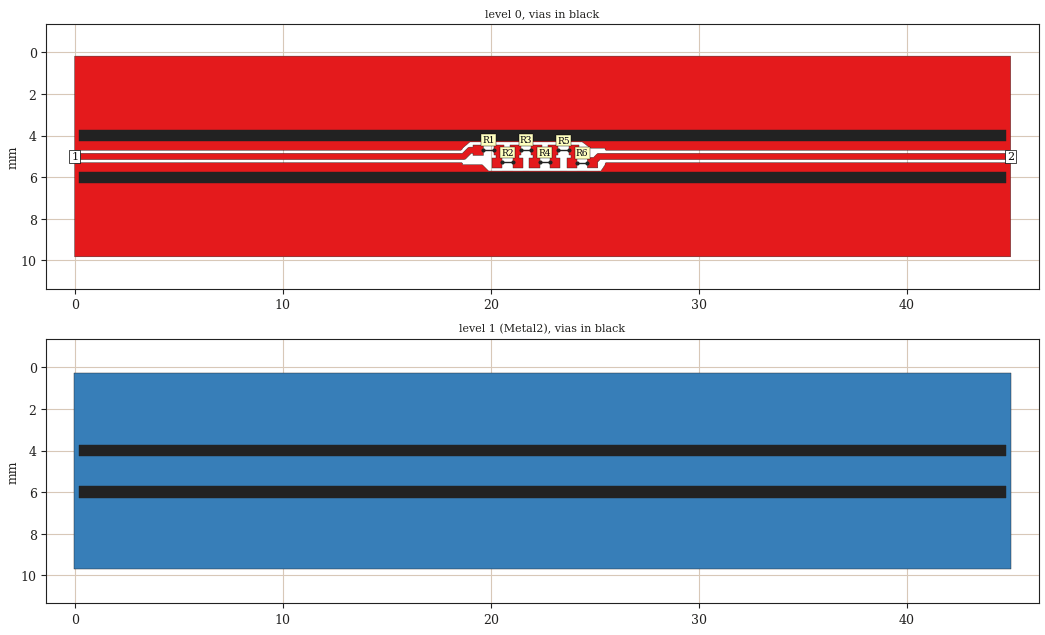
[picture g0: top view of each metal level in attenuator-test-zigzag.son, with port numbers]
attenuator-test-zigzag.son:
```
FTYP SONPROJ 17 ! Sonnet Project File
VER 17.52.2
HEADER
LIC antikernel2.2.49648 90e2ba8817c0 havequick azonenberg
DAT 08/15/2020 20:24:10
BUILT_BY_CREATED xgeom 16.56 07/03/2018 15:05:41
BUILT_BY_SAVED sonnet 17.52.2
MDATE 08/15/2020 20:23:19
HDATE 08/15/2020 20:23:19
END HEADER
DIM
ANG DEG
CAP PF
CON /OH
FREQ GHZ
IND NH
LNG MM
RES OH
END DIM
CONTROL
VARSWP
OPTIONS  -dj
SPEED 1
CACHE_ABS 1
Q_ACC N
END CONTROL
GEO
TMET "Free Space" 0 FREESPACE 376.7303136 0 0 0
BMET "Free Space" 0 FREESPACE 376.7303136 0 0 0
MET "Silver" 1 TMM 61700000 0.5 0.035 2
BRI "Alumina (96%)" 0 9.4 0.0004 0 
BRI "Alumina (99.5%)" 0 9.9 0.0001 0 
BRI "Aluminum Nitride" 0 8.6 0.0003 0 
BRI "Arlon 25FR" 0 3.58 0.0035 0 
BRI "Arlon 25N" 0 3.38 0.0025 0 
BRI "Arlon AD5" 0 5.1 0.003 0 
BRI "Arlon AD10" 0 10.2 0.005 0 
BRI "Arlon AD250" 0 2.5 0.0018 0 
BRI "Arlon AD255A" 0 2.55 0.0015 0 
BRI "Arlon AD260A" 0 2.6 0.0018 0 
BRI "Arlon AD270" 0 2.7 0.0023 0 
BRI "Arlon AD300A" 0 3 0.002 0 
BRI "Arlon AD320A" 0 3.2 0.0032 0 
BRI "Arlon AD350A" 0 3.5 0.003 0 
BRI "Arlon AD410" 0 4.1 0.003 0 
BRI "Arlon AD430" 0 4.3 0.003 0 
BRI "Arlon AD450" 0 4.5 0.0035 0 
BRI "Arlon AD600" 0 6.15 0.003 0 
BRI "Arlon AD1000" 0 10.2 0.0023 0 
BRI "Arlon AR1000" 0 9.8 0.003 0 
BRI "Arlon CLTE" 0 2.96 0.0023 0 
BRI "Arlon CLTE-AT" 0 3 0.0013 0 
BRI "Arlon CLTE-P" 0 2.94 0.0025 0 
BRI "Arlon CLTE-XT" 0 2.94 0.0012 0 
BRI "Arlon Cu 217LX" 0 2.17 0.0009 0 
BRI "Arlon Cu 233LX" 0 2.33 0.0013 0 
BRI "Arlon Cu 250GT" 0 2.5 0.001 0 
BRI "Arlon Cu 250GX" 0 2.5 0.0018 0 
BRI "Arlon Cu 6250" 0 2.32 0.0013 0 
BRI "Arlon Cu 6700" 0 2.35 0.0025 0 
BRI "Arlon Di 522" 0 2.5 0.001 0 
BRI "Arlon Di 527" 0 2.5 0.0018 0 
BRI "Arlon Di 870" 0 2.33 0.0013 0 
BRI "Arlon Di 880" 0 2.17 0.0009 0 
BRI "Arlon Iso 917" 0 2.17 0.0013 0 
BRI "Arlon Iso 933" 0 2.33 0.0016 0 
BRI "Arlon Multi HF" 0 3.7 0.004 0 
BRI "Arlon TC350" 0 3.5 0.002 0 
BRI "Arlon TC600" 0 6.15 0.002 0 
BRI "Beryllia (99.5%)" 0 6.5 0.0004 0 
BRI "CEM-1" 0 4.5 0.02 0 
BRI "CEM-3" 0 4.5 0.02 0 
BRI "Dupont 9K7" 0 7.1 0.0012 0 
BRI "Dupont 943" 0 7.4 0.002 0 
BRI "Dupont 951" 0 7.8 0.006 0 
BRI "Dupont FEP" 0 2 0.0005 0 
BRI "Dupont Vacrel" 0 3.8 0.011 0 
BRI "ESL 41010" 0 7.5 0.005 0 
BRI "ESL 41020" 0 7.25 0.005 0 
BRI "ESL 41050" 0 13.5 0.002 0 
BRI "ESL 41060" 0 16.5 0.002 0 
BRI "ESL 41110" 0 4.5 0.004 0 
BRI "Ferro A6M" 0 5.9 0.002 0 
BRI "Ferro A6S" 0 5.9 0.002 0 
BRI "Ferro L8" 0 7.3 0.0018 0 
BRI "FR-4" 0 4.4 0.02 0 
BRI "G-10" 0 4.8 0.025 0 
BRI "Gallium Arsenide" 0 12.9 0.006 0 
BRI "Gallium Nitride" 0 9.7 0 0 
BRI "Glass (Pyrex)" 0 4.82 0.0054 0 
BRI "Heraeus HL2000" 0 7.3 0.0026 0 
BRI "Isola 370HR" 0 4.04 0.021 0 
BRI "Isola FR408" 0 3.77 0.0116 0 
BRI "Isola FR408HR" 0 3.68 0.0092 0 
BRI "Isola Getek" 0 3.6 0.01 0 
BRI "Isola GI-180" 0 3.7 0.013 0 
BRI "Isola IS415" 0 3.82 0.0125 0 
BRI "Isola IS620i" 0 3.58 0.006 0 
BRI "Isola IS680-280" 0 2.8 0.0025 0 
BRI "Isola IS680-300" 0 3 0.003 0 
BRI "Isola IS680-320" 0 3.2 0.003 0 
BRI "Isola IS680-333" 0 3.33 0.003 0 
BRI "Isola IS680-338" 0 3.38 0.0032 0 
BRI "Isola IS680-345" 0 3.45 0.0036 0 
BRI "Kerafol CT800" 0 5.3 0.008 0 
BRI "Nelco MW9350" 0 3.7 0.004 0 
BRI "Nelco N4000-12" 0 3.7 0.008 0 
BRI "Nelco N4000-13" 0 3.7 0.009 0 
BRI "Nelco N4000-13SI" 0 3.2 0.007 0 
BRI "Nelco N4000-13EP" 0 3.7 0.008 0 
BRI "Nelco N4350-13RF" 0 3.5 0.0065 0 
BRI "Nelco N4380-13RF" 0 3.8 0.007 0 
BRI "Nelco N9300-13RF" 0 3 0.004 0 
BRI "Nelco N9320-13RF" 0 3.2 0.0045 0 
BRI "Nelco N9338-13RF" 0 3.38 0.0046 0 
BRI "Nelco N9350-13RF" 0 3.48 0.0055 0 
BRI "Nelco NH9294" 0 2.94 0.0022 0 
BRI "Nelco NH9300" 0 3 0.0023 0 
BRI "Nelco NH9320" 0 3.2 0.0024 0 
BRI "Nelco NH9338" 0 3.38 0.0025 0 
BRI "Nelco NH9348" 0 3.48 0.003 0 
BRI "Nelco NH9350" 0 3.5 0.003 0 
BRI "Nelco NH9410" 0 4.1 0.003 0 
BRI "Nelco NH9450" 0 4.5 0.003 0 
BRI "Nelco NX9240" 0 2.4 0.0016 0 
BRI "Nelco NX9245" 0 2.45 0.0016 0 
BRI "Nelco NX9250" 0 2.5 0.0017 0 
BRI "Nelco NX9255" 0 2.55 0.0018 0 
BRI "Nelco NX9260" 0 2.6 0.0019 0 
BRI "Nelco NY9208" 0 2.08 0.0006 0 
BRI "Nelco NY9217" 0 2.17 0.0008 0 
BRI "Nelco NY9220" 0 2.2 0.0009 0 
BRI "Nelco NY9233" 0 2.33 0.0011 0 
BRI "PET" 0 3.37 0.0208 0 
BRI "Polyimide" 0 3.5 0.003 0 
BRI "Quartz (Fused)" 0 3.78 0.0001 0 
BRI "Rogers 3001" 0 2.28 0.003 0 
BRI "Rogers RO2808" 0 7.6 0.0015 0 
BRI "Rogers RO3003" 0 3 0.0013 0 
BRI "Rogers RO3006" 0 6.5 0.002 0 
BRI "Rogers RO3010" 0 11.2 0.0022 0 
BRI "Rogers RO3035" 0 3.6 0.0018 0 
BRI "Rogers RO3203" 0 3.02 0.0016 0 
BRI "Rogers RO3206" 0 6.6 0.0027 0 
BRI "Rogers RO3210" 0 10.8 0.0027 0 
BRI "Rogers RO3730" 0 3 0.0016 0 
BRI "Rogers RO4003C" 0 3.55 0.0029 0 
BRI "Rogers RO4533" 0 3.45 0.0029 0 
BRI "Rogers RO4534" 0 3.4 0.003 0 
BRI "Rogers RO4350B" 0 3.66 0.0037 0 
BRI "Rogers RO4350BTX" 0 3.66 0.0034 0 
BRI "Rogers RO4360" 0 6.15 0.0038 0 
BRI "Rogers RO4450B-3.6" 0 3.3 0.0043 0 
BRI "Rogers RO4450B-4" 0 3.54 0.004 0 
BRI "Rogers RO4450F" 0 3.52 0.0041 0 
BRI "Rogers RO4730" 0 3 0.0033 0 
BRI "Rogers RT5870" 0 2.33 0.0012 0 
BRI "Rogers RT5880" 0 2.2 0.0009 0 
BRI "Rogers RT5880LZ" 0 1.96 0.0019 0 
BRI "Rogers RT6002" 0 2.94 0.0012 0 
BRI "Rogers RT6006" 0 6.15 0.0027 0 
BRI "Rogers RT6010LM" 0 10.9 0.0023 0 
BRI "Rogers RT6035HTC" 0 3.6 0.0013 0 
BRI "Rogers RT6202" 0 2.94 0.0015 0 
BRI "Rogers RT6202PR" 0 2.95 0.0015 0 
BRI "Rogers Syron7000" 0 3.4 0.0045 0 
BRI "Rogers Syron7100-2" 0 3.61 0.006 0 
BRI "Rogers Syron7100-4" 0 3.39 0.005 0 
BRI "Rogers Theta" 0 4.01 0.0118 0 
BRI "Rogers TMM 3" 0 3.39 0.002 0 
BRI "Rogers TMM 4" 0 4.5 0.002 0 
BRI "Rogers TMM 6" 0 6 0.0023 0 
BRI "Rogers TMM 10" 0 9.56 0.0022 0 
BRI "Rogers TMM 10i" 0 9.96 0.002 0 
BRI "Rogers UL2000" 0 2.5 0.0019 0 
BRI "Rogers UL3850" 0 3.05 0.0025 0 
BRI "Rogers UL3908" 0 2.9 0.0025 0 
BRI "Rogers XT8000" 0 3.34 0.0035 0 
BRI "Rogers XT8100-2" 0 3.54 0.0049 0 
BRI "Rogers XT8100-4" 0 3.32 0.0038 0 
BRI "Silicon (intrinsic)" 0 11.9 0.004 0.00044 
BRI "Silicon Dioxide" 0 3.9 0 0 
BRI "Silicon Nitride" 0 7.5 0 0 
BRI "Taconic CER-10" 0 10 0.0035 0 
BRI "Taconic FastFilm" 0 2.7 0.0012 0 
BRI "Taconic Fastrise-DS" 0 2.96 0.0018 0 
BRI "Taconic Fastrise27" 0 2.7 0.0014 0 
BRI "Taconic Fastrise77" 0 7.7 0.0034 0 
BRI "Taconic FEP" 0 2 0.0003 0 
BRI "Taconic RF-30" 0 3 0.0014 0 
BRI "Taconic RF-35" 0 3.5 0.0018 0 
BRI "Taconic RF-35A2" 0 3.5 0.0011 0 
BRI "Taconic RF-35P" 0 3.5 0.0025 0 
BRI "Taconic RF-41" 0 4.1 0.0038 0 
BRI "Taconic RF-43" 0 4.3 0.0033 0 
BRI "Taconic RF-45" 0 4.5 0.0037 0 
BRI "Taconic RF-60A" 0 6.15 0.0038 0 
BRI "Taconic RF-301" 0 2.97 0.0012 0 
BRI "Taconic TacBond HT" 0 2.35 0.0025 0 
BRI "Taconic TLA-6" 0 2.62 0.0012 0 
BRI "Taconic TLC-27" 0 2.75 0.003 0 
BRI "Taconic TLC-30" 0 3 0.003 0 
BRI "Taconic TLC-32" 0 3.2 0.003 0 
BRI "Taconic TLE-95" 0 2.95 0.0028 0 
BRI "Taconic TLF-34" 0 3.4 0.002 0 
BRI "Taconic TLF-35" 0 3.5 0.002 0 
BRI "Taconic TLP-3" 0 2.33 0.0009 0 
BRI "Taconic TLP-5" 0 2.2 0.0009 0 
BRI "Taconic TLP-5A" 0 2.17 0.0009 0 
BRI "Taconic TLT-0" 0 2.45 0.0006 0 
BRI "Taconic TLT-9" 0 2.5 0.0006 0 
BRI "Taconic TLT-8" 0 2.55 0.0006 0 
BRI "Taconic TLT-7" 0 2.6 0.0006 0 
BRI "Taconic TLT-6" 0 2.65 0.0006 0 
BRI "Taconic TLX-0" 0 2.45 0.0019 0 
BRI "Taconic TLX-9" 0 2.5 0.0019 0 
BRI "Taconic TLX-8" 0 2.55 0.0019 0 
BRI "Taconic TLX-7" 0 2.6 0.0019 0 
BRI "Taconic TLX-6" 0 2.65 0.0019 0 
BRI "Taconic TLY-3" 0 2.33 0.0009 0 
BRI "Taconic TLY-3F" 0 2.33 0.0009 0 
BRI "Taconic TLY-5" 0 2.2 0.0009 0 
BRI "Taconic TLY-5-L" 0 2.2 0.0009 0 
BRI "Taconic TLY-5A" 0 2.17 0.0009 0 
BRI "Taconic TLY-5A-L" 0 2.17 0.0009 0 
BRI "Taconic TPG-30" 0 3 0.0038 0 
BRI "Taconic TPG-32" 0 3.2 0.005 0 
BRI "Taconic TPG-35" 0 3.5 0.005 0 
BRI "Taconic TRF-41" 0 4.1 0.0035 0 
BRI "Taconic TRF-43" 0 4.3 0.0035 0 
BRI "Taconic TRF-45" 0 4.5 0.0035 0 
BRI "Taconic TSM-DS" 0 2.85 0.001 0 
BRI "Taconic TSM-DS3" 0 3 0.0011 0 
BRI "Taconic TSM-26" 0 2.6 0.0014 0 
BRI "Taconic TSM-29" 0 2.94 0.0013 0 
BRI "Taconic TSM-30" 0 3 0.0013 0 
BRI "Teflon (PTFE)" 0 2.08 0.0004 0 
BOX 2 45 10 3600 800 20 0
      1 1 1 0 0 0 0 "Air"
      0.16 3.68 1 0.0092 0 0 0 "Isola FR408HR"
      1 1 1 0 0 0 0 "Substrate"
TECHLAY METAL Metal1 <UNSPECIFIED> -2 0 
0 0 0 N 0 1 1 100 100 0 0 0 Y
END
END
TECHLAY VIA Via1 <UNSPECIFIED> -4 0 
VIA POLYGON
1 0 -1 N 0 1 1 100 100 0 0 0 Y
TOLEVEL 0 RING NOCOVERS
END
END
TECHLAY METAL Metal2 <UNSPECIFIED> -3 0 
1 0 -1 N 0 1 1 100 100 0 0 0 Y
END
END
LORGN 0 10 U 
POR1 BOX
POLY 805 1
23
1 50 0 0 0 0 5 
POR1 BOX
POLY 810 1
2
2 50 0 0 0 45 5 
SMD 0 "R1"
ID 473
GNDREF AUTO
SBOX 19.775 20.025 4.55 4.8
PBSHW N
LPOS 19.9 4.55
TYPE SPARAM 1
SMDP 0 19.65 4.675 L 3 1 
EXSMDP
GNDREF AUTO
TERMW FEED
END EXSMDP
SMDP 0 20.15 4.675 R 4 2 
EXSMDP
GNDREF AUTO
TERMW FEED
END EXSMDP
END
SMD 0 "R2"
ID 476
GNDREF AUTO
SBOX 20.675 20.925 5.15 5.4
PBSHW N
LPOS 20.8 5.15
TYPE SPARAM 2
SMDP 0 20.55 5.275 L 5 1 
EXSMDP
GNDREF AUTO
TERMW FEED
END EXSMDP
SMDP 0 21.05 5.275 R 6 2 
EXSMDP
GNDREF AUTO
TERMW FEED
END EXSMDP
END
SMD 0 "R3"
ID 479
GNDREF AUTO
SBOX 21.575 21.825 4.55 4.8
PBSHW N
LPOS 21.7 4.55
TYPE SPARAM 2
SMDP 0 21.45 4.675 L 7 1 
EXSMDP
GNDREF AUTO
TERMW FEED
END EXSMDP
SMDP 0 21.95 4.675 R 8 2 
EXSMDP
GNDREF AUTO
TERMW FEED
END EXSMDP
END
SMD 0 "R4"
ID 482
GNDREF AUTO
SBOX 22.475 22.725 5.15 5.4
PBSHW N
LPOS 22.6 5.15
TYPE SPARAM 2
SMDP 0 22.35 5.275 L 9 1 
EXSMDP
GNDREF AUTO
TERMW FEED
END EXSMDP
SMDP 0 22.85 5.275 R 10 2 
EXSMDP
GNDREF AUTO
TERMW FEED
END EXSMDP
END
SMD 0 "R5"
ID 485
GNDREF AUTO
SBOX 23.375 23.625 4.575 4.825
PBSHW N
LPOS 23.5 4.575
TYPE SPARAM 2
SMDP 0 23.25 4.7 L 11 1 
EXSMDP
GNDREF AUTO
TERMW FEED
END EXSMDP
SMDP 0 23.75 4.7 R 12 2 
EXSMDP
GNDREF AUTO
TERMW FEED
END EXSMDP
END
SMD 0 "R6"
ID 488
GNDREF AUTO
SBOX 24.275 24.525 5.175 5.425
PBSHW N
LPOS 24.4 5.175
TYPE SPARAM 3
SMDP 0 24.15 5.3 L 13 1 
EXSMDP
GNDREF AUTO
TERMW FEED
END EXSMDP
SMDP 0 24.65 5.3 R 14 2 
EXSMDP
GNDREF AUTO
TERMW FEED
END EXSMDP
END
NUM 12
0 12 0 N 796 1 1 100 100 0 0 0 Y
USER_DAT FromImport
22.35 5.05
22.35 4.95
22.45 4.95
22.45 4.45
21.95 4.45
21.95 4.95
22.05 4.95
22.05 5.05
21.85 5.05
21.85 5.55
22.35 5.55
22.35 5.05
END
0 12 0 N 798 1 1 100 100 0 0 0 Y
USER_DAT FromImport
24.15 5.05
24.15 4.95
24.25 4.95
24.25 4.45
23.75 4.45
23.75 4.95
23.85 4.95
23.85 5.05
23.65 5.05
23.65 5.55
24.15 5.55
24.15 5.05
END
0 12 0 N 799 1 1 100 100 0 0 0 Y
USER_DAT FromImport
20.55 5.05
20.55 4.95
20.65 4.95
20.65 4.45
20.15 4.45
20.15 4.95
20.25 4.95
20.25 5.05
20.05 5.05
20.05 5.55
20.55 5.55
20.55 5.05
END
0 13 0 N 801 1 1 100 100 0 0 0 Y
USER_DAT FromImport
21.55 5.05
21.35 5.05
21.35 4.95
21.45 4.95
21.45 4.45
20.95 4.45
20.95 4.95
21.05 4.95
21.05 5.05
21.05 5.2074
21.05 5.55
21.55 5.55
21.55 5.05
END
0 14 0 N 802 1 1 100 100 0 0 0 Y
USER_DAT FromImport
23.35 5.05
23.15 5.05
23.15 4.95
23.25 4.95
23.25 4.45
22.75 4.45
22.75 4.95
22.85 4.95
22.85 5.05
22.85 5.1926
22.85 5.2074
22.85 5.55
23.35 5.55
23.35 5.05
END
0 27 0 N 805 1 1 100 100 0 0 0 Y
USER_DAT FromImport
18.722 5.1486
18.736 5.1457
18.751 5.1414
18.764 5.1358
18.777 5.1288
18.789 5.1206
18.801 5.1113
19.06196327 4.85
19.15 4.85
19.15 4.95
19.65 4.95
19.65 4.45
19.15 4.45
19.15 4.55
18.993 4.55
18.978 4.5514
18.964 4.5543
18.949 4.5586
18.936 4.5642
18.923 4.5712
18.911 4.5794
18.899 4.5887
18.63803673 4.85
0 4.85
0 5.15
18.707 5.15
18.722 5.1486
END
0 125 0 N 808 1 1 100 100 0 0 0 Y
USER_DAT FromImport
39.703 4.699
45 4.699
45 0.175
0 0.175
0 4.699
5.297 4.699
5.301 4.6994
5.301 4.6994
5.307 4.7
18.553 4.7
18.559 4.6994
18.565 4.6982
18.571 4.6964
18.577 4.6941
18.582 4.6912
18.587 4.6878
18.592 4.6839
18.634 4.6418
18.638 4.6371
18.63933333 4.634833333
18.64 4.634
18.643 4.6287
18.646 4.6232
18.648 4.6173
18.649 4.6114
18.65046963 4.600230841
18.65271476 4.597951165
18.99442014 4.304509259
18.995 4.3042
18.99945701 4.300545249
18.99979487 4.300361538
19 4.3003
19.003 4.3
19.143 4.3
19.149 4.2994
19.149 4.2994
19.153 4.299
19.647 4.299
19.651 4.2994
19.651 4.2994
19.651 4.2994
19.657 4.3
20.143 4.3
20.149 4.2994
20.149 4.2994
20.153 4.299
20.647 4.299
20.651 4.2994
20.651 4.2994
20.657 4.3
20.943 4.3
20.949 4.2994
20.949 4.2994
20.953 4.299
21.447 4.299
21.451 4.2994
21.451 4.2994
21.457 4.3
21.943 4.3
21.949 4.2994
21.949 4.2994
21.953 4.299
22.447 4.299
22.451 4.2994
22.451 4.2994
22.457 4.3
22.743 4.3
22.749 4.2994
22.749 4.2994
22.753 4.299
23.247 4.299
23.251 4.2994
23.251 4.2994
23.251 4.2994
23.257 4.3
23.743 4.3
23.749 4.2994
23.749 4.2994
23.753 4.299
24.247 4.299
24.251 4.2994
24.251 4.2994
24.251 4.2994
24.257 4.3
24.39633333 4.3
24.40042461 4.300502111
24.40351091 4.302334603
24.78398267 4.587786482
24.784 4.5878
24.78400734 4.587804989
24.786 4.5893
24.791 4.5925
24.79207692 4.592984615
24.794 4.5941
24.79836364 4.595772727
24.802 4.5973
24.808 4.5988
24.814 4.5997
24.817 4.5999
24.818 4.6
24.8185 4.6
24.82 4.6001
24.82233333 4.6
25.497 4.6
25.49954386 4.600254386
25.5 4.60186
25.5 4.6344
25.5 4.6406
25.501 4.6467
25.502 4.6527
25.504 4.6586
25.506 4.6643
25.509 4.6697
25.512 4.6748
25.516 4.6795
25.52 4.6839
25.525 4.6878
25.53 4.6912
25.536 4.6941
25.541 4.6964
25.547 4.6982
25.553 4.6994
25.559 4.7
39.693 4.7
39.703 4.699
END
0 119 0 N 809 1 1 100 100 0 0 0 Y
USER_DAT FromImport
45 5.301
39.703 5.301
39.693 5.3
25.559 5.3
25.553 5.3006
25.547 5.3018
25.541 5.3036
25.536 5.3059
25.53 5.3088
25.525 5.3122
25.52 5.3161
25.516 5.3205
25.512 5.3252
25.509 5.3303
25.506 5.3357
25.504 5.3414
25.502 5.3473
25.501 5.3533
25.5 5.3594
25.5 5.3656
25.5 5.39814
25.49952926 5.399797009
25.49540456 5.407267289
25.29993399 5.699706601
25.297 5.7
25.157 5.7
25.151 5.7006
25.151 5.7006
25.151 5.7006
25.147 5.701
24.653 5.701
24.649 5.7006
24.649 5.7006
24.643 5.7
24.157 5.7
24.151 5.7006
24.151 5.7006
24.151 5.7006
24.147 5.701
23.653 5.701
23.649 5.7006
23.649 5.7006
23.643 5.7
23.357 5.7
23.351 5.7006
23.351 5.7006
23.351 5.7006
23.347 5.701
22.853 5.701
22.849 5.7006
22.849 5.7006
22.843 5.7
22.357 5.7
22.351 5.7006
22.351 5.7006
22.351 5.7006
22.347 5.701
21.853 5.701
21.849 5.7006
21.849 5.7006
21.843 5.7
21.557 5.7
21.551 5.7006
21.551 5.7006
21.551 5.7006
21.547 5.701
21.053 5.701
21.049 5.7006
21.049 5.7006
21.043 5.7
20.557 5.7
20.551 5.7006
20.551 5.7006
20.551 5.7006
20.547 5.701
20.053 5.701
20.049 5.7006
20.049 5.7006
20.043 5.7
19.903 5.7
19.9 5.6997
19.89990667 5.699672
19.89727093 5.697469281
19.616 5.4161
19.611 5.4122
19.606 5.4088
19.601 5.4059
19.595 5.4036
19.589 5.4018
19.583 5.4006
19.577 5.4
18.653 5.4
18.65045614 5.399745614
18.65 5.39814
18.65 5.3656
18.65 5.3594
18.649 5.3533
18.648 5.3473
18.646 5.3414
18.644 5.3357
18.641 5.3303
18.638 5.3252
18.634 5.3205
18.63 5.3161
18.625 5.3122
18.62 5.3088
18.614 5.3059
18.609 5.3036
18.603 5.3018
18.597 5.3006
18.591 5.3
5.307 5.3
5.301 5.3006
5.301 5.3006
5.297 5.301
0 5.301
0 9.825
45 9.825
45 5.301
END
0 17 0 N 810 1 1 100 100 0 0 0 Y
USER_DAT FromImport
25.15 5.262107742
25.26196327 5.15
45 5.15
45 4.85
25.193 4.85
25.178 4.8514
25.164 4.8543
25.149 4.8586
25.136 4.8642
25.123 4.8712
25.111 4.8794
25.099 4.8887
24.93790786 5.05
24.65 5.05
24.65 5.55
25.15 5.55
25.15 5.262107742
END
VIA POLYGON
1 5 -1 N 785 1 1 100 100 0 0 0 Y
TOLEVEL 0 RING NOCOVERS
TLAYNAM Via1 INH
0.2 5.725
44.772 5.725
44.772 6.2747
0.2 6.2747
0.2 5.725
END
VIA POLYGON
1 5 -1 N 786 1 1 100 100 0 0 0 Y
TOLEVEL 0 RING NOCOVERS
TLAYNAM Via1 INH
0.225 3.725
44.797 3.725
44.797 4.2747
0.225 4.2747
0.225 3.725
END
1 5 -1 N 788 1 1 100 100 0 0 0 Y
TLAYNAM Metal2 INH
USER_DAT FromImport
-0.013 9.7125
-0.013 0.2875
45 0.2875
45 9.7125
-0.013 9.7125
END
END GEO
OPT
MAX 100
END OPT
VARSWP
ENABLED Y
FREQ Y AY ABS_ENTRY 0.1 6.0 -1 300 
END
END VARSWP
FILEOUT
FOLDER .
END FILEOUT
SMDFILES
2 "../../../../../../share/datasheets/Vishay/0402/FC0402-FlipChip-75 Ohm.s2p"
3 "../../../../../../share/datasheets/Vishay/0402/FC0402-FlipChip-50 Ohm.s2p"
1 "../../../../../../share/datasheets/Vishay/0402/FC0402-FlipChip-100 Ohm.s2p"
END SMDFILES
```
